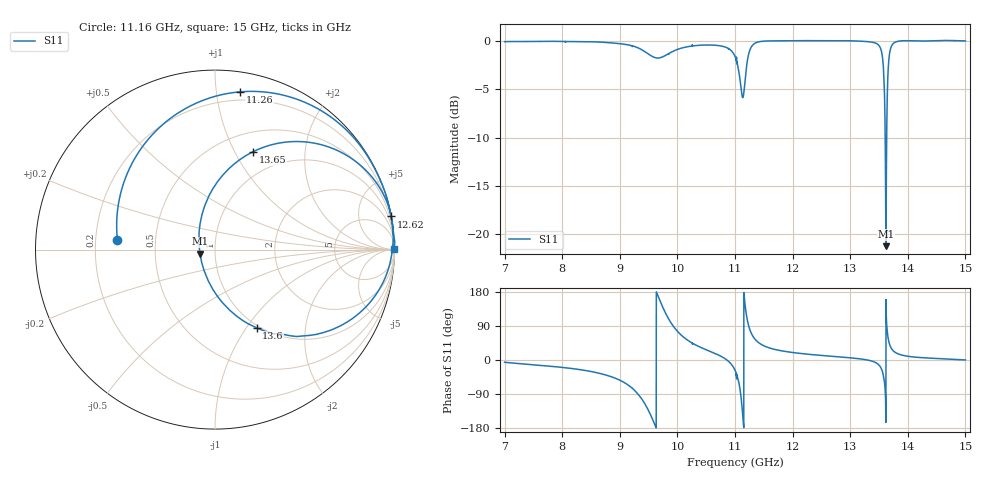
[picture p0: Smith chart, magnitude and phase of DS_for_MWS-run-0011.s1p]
! TOUCHSTONE file generated by CST DESIGN STUDIO
! Date and time: Mon Feb 10 16:44:19 2025
! Project name: C:\Work\MatlabApps\UnitCellType2OptimizationMatlab\CST\unitcell.cst
! Tree item: Tasks\Sweep1\SPara1\S-Parameters
! Header version: 2024
! Port assignment regex: !\s*Touchstone port\s*([0-9]+)\s*=\s*(CST MWS port|CST DES external port|CST DES block port)\s*(.+)\s* \(\"(.*)\"\)(\s*mode\s*([0-9]+))?.*
! Touchstone port assignment:
! Touchstone port 1 = CST DES external port 1 ("")
# GHz S MA R 50
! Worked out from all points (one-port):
!   4001 points, 7 GHz to 15 GHz, reference 50 ohm
!   lowest |S11| = -21.2 dB at 13.62 GHz (marker M1), VSWR 1.19, Z = 42.2 - j1.95 ohm
!   |S11| at or under -10 dB: 13.60722 GHz to 13.63289 GHz (25.67 MHz wide, 0.188 % of centre)
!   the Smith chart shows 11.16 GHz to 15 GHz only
!   S11 on the Smith chart (normalised r, x): 11.16 GHz: 0.29, +0.04; 11.26 GHz: 0.14, +1.16; 12.62 GHz: 0, +11; 13.6 GHz: 0.97, -1.12; 13.65 GHz: 0.72, +1.18; 15 GHz: open
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7  0.9879 -6.0
8  0.9906 -19.5
9  0.9646 -53.3
9.38  0.898 -102.6
9.618  0.8165 -174.2
9.806  0.843 120.1
10  0.9007 75.8
10.496  0.9495 27.3
10.848  0.9226 1.3
11  0.8298 -26.6
11.09  0.6172 -79.9
11.156  0.5459 174.6
11.206  0.7584 111.9
11.256  0.8904 80.9
11.338  0.9657 56.7
11.456  0.9911 41.1
12  0.9996 19.8
12.618  0.9982 10.7
13  0.9982 5.8
13.486  0.9526 -11.3
13.546  0.8721 -24.6
13.598  0.4939 -62.0
13.62  0.08692 -164.7
13.648  0.584 68.9
13.68  0.845 43.1
13.742  0.9622 25.1
14  0.9992 9.9
15  0.9967 0.2
